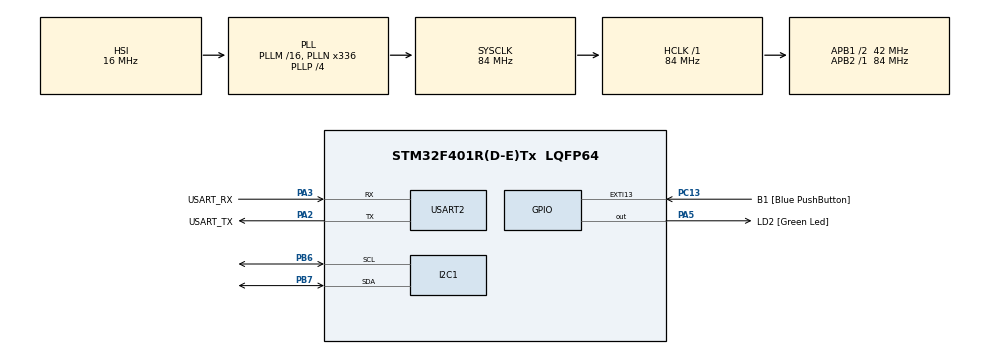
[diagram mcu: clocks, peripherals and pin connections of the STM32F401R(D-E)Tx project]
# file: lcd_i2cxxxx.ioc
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Mcu.Family=STM32F4
PA2.GPIO_PuPd=GPIO_NOPULL
RCC.CortexFreq_Value=84000000
PC13-ANTI_TAMP.GPIO_PuPd=GPIO_NOPULL
PC13-ANTI_TAMP.GPIO_Label=B1 [Blue PushButton]
PA14.GPIO_Label=TCK
PA3.GPIO_PuPd=GPIO_NOPULL
PH1\ -\ OSC_OUT.Mode=HSE-External-Oscillator
PA2.GPIO_Speed=GPIO_SPEED_FREQ_LOW
RCC.APB1CLKDivider=RCC_HCLK_DIV2
PC14-OSC32_IN.Signal=RCC_OSC32_IN
PA3.GPIO_Speed=GPIO_SPEED_FREQ_LOW
RCC.SYSCLKSource=RCC_SYSCLKSOURCE_PLLCLK
ProjectManager.StackSize=0x400
PA13.Signal=SYS_JTMS-SWDIO
PA3.Mode=Asynchronous
PH0\ -\ OSC_IN.Mode=HSE-External-Oscillator
PH0\ -\ OSC_IN.Signal=RCC_OSC_IN
ProjectManager.TargetToolchain=SW4STM32
PA3.GPIO_Mode=GPIO_MODE_AF_PP
RCC.HCLKFreq_Value=84000000
RCC.APB2TimFreq_Value=84000000
PB6.Signal=I2C1_SCL
PB6.Mode=I2C
PC15-OSC32_OUT.Signal=RCC_OSC32_OUT
RCC.AHBFreq_Value=84000000
PA5.Signal=GPIO_Output
RCC.HSE_VALUE=8000000
PH1\ -\ OSC_OUT.Signal=RCC_OSC_OUT
board=NUCLEO-F401RE
PC13-ANTI_TAMP.Signal=GPXTI13
RCC.VCOOutputFreq_Value=336000000
RCC.APB2Freq_Value=84000000
PA14.Mode=Serial_Wire
PA5.GPIO_PuPd=GPIO_NOPULL
PB7.Signal=I2C1_SDA
PA13.Mode=Serial_Wire
Mcu.Name=STM32F401R(D-E)Tx
PA2.Signal=USART2_TX
PA13.GPIO_Label=TMS
RCC.48MHZClocksFreq_Value=48000000
PB3.Signal=SYS_JTDO-SWO
RCC.SYSCLKFreq_VALUE=84000000
Mcu.Package=LQFP64
PA5.GPIO_Label=LD2 [Green Led]
USART2.VirtualMode=VM_ASYNC
PC13-ANTI_TAMP.GPIO_ModeDefaultEXTI=GPIO_MODE_IT_FALLING
PA2.GPIO_Label=USART_TX
PB7.Mode=I2C
PA14.Signal=SYS_JTCK-SWCLK
ProjectManager.HeapSize=0x200
RCC.HSI_VALUE=16000000
RCC.PLLP=RCC_PLLP_DIV4
PA5.GPIO_Speed=GPIO_SPEED_FREQ_LOW
RCC.PLLQ=7
NVIC.PriorityGroup=NVIC_PRIORITYGROUP_0
RCC.PLLN=336
RCC.APB1TimFreq_Value=84000000
PA2.Mode=Asynchronous
RCC.APB1Freq_Value=42000000
PA5.GPIO_Mode=GPIO_MODE_OUTPUT_PP
PA3.GPIO_Label=USART_RX
PA3.Signal=USART2_RX
PA2.GPIO_Mode=GPIO_MODE_AF_PP
PB3.GPIO_Label=SWO

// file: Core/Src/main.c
/* USER CODE BEGIN Header */
/**
  ******************************************************************************
  * @file           : main.c
  * @brief          : Main program body
  ******************************************************************************
  * @attention
  *
  * <h2><center>&copy; Copyright (c) 2020 STMicroelectronics.
  * All rights reserved.</center></h2>
  *
  * This software component is licensed by ST under BSD 3-Clause license,
  * the "License"; You may not use this file except in compliance with the
  * License. You may obtain a copy of the License at:
  *                        opensource.org/licenses/BSD-3-Clause
  *
  ******************************************************************************
  */
/* USER CODE END Header */
#include "main.h"

I2C_HandleTypeDef hi2c1;

UART_HandleTypeDef huart2;

void SystemClock_Config(void);
static void MX_GPIO_Init(void);
static void MX_I2C1_Init(void);
static void MX_USART2_UART_Init(void);

/* USER CODE BEGIN 0 */

#define SLAVE_ADDRESS_LCD 0x4E

void lcd_send_cmd (char cmd)
{
  char data_u, data_l;
	uint8_t data_t[4];
	data_u = (cmd&0xf0);
	data_l = ((cmd<<4)&0xf0);
	data_t[0] = data_u|0x0C;  //en=1, rs=0
	data_t[1] = data_u|0x08;  //en=0, rs=0
	data_t[2] = data_l|0x0C;  //en=1, rs=0
	data_t[3] = data_l|0x08;  //en=0, rs=0
	HAL_I2C_Master_Transmit (&hi2c1, SLAVE_ADDRESS_LCD,(uint8_t *) data_t, 4, 100);
}

void lcd_send_data (char data)
{
	char data_u, data_l;
	uint8_t data_t[4];
	data_u = (data&0xf0);
	data_l = ((data<<4)&0xf0);
	data_t[0] = data_u|0x0D;  //en=1, rs=1
	data_t[1] = data_u|0x09;  //en=0, rs=1
	data_t[2] = data_l|0x0D;  //en=1, rs=1
	data_t[3] = data_l|0x09;  //en=0, rs=1
	HAL_I2C_Master_Transmit (&hi2c1, SLAVE_ADDRESS_LCD,(uint8_t *) data_t, 4, 100);

}

void lcd_send_string (char *str)
{
	while (*str) lcd_send_data (*str++);
}

void lcd_init (void)
{
	// 4 bit initialisation
	HAL_Delay(50);  // wait for >40ms
	lcd_send_cmd (0x30);
	HAL_Delay(5);  // wait for >4.1ms
	lcd_send_cmd (0x30);
	HAL_Delay(1);  // wait for >100us
	lcd_send_cmd (0x30);
	HAL_Delay(10);
	lcd_send_cmd (0x20);  // 4bit mode
	HAL_Delay(10);

  // dislay initialisation
	lcd_send_cmd (0x28); // Function set --> DL=0 (4 bit mode), N = 1 (2 line display) F = 0 (5x8 characters)
	HAL_Delay(1);
	lcd_send_cmd (0x08); //Display on/off control --> D=0,C=0, B=0  ---> display off
	HAL_Delay(1);
	lcd_send_cmd (0x01);  // clear display
	HAL_Delay(1);
	HAL_Delay(1);
	lcd_send_cmd (0x06); //Entry mode set --> I/D = 1 (increment cursor) & S = 0 (no shift)
	HAL_Delay(1);
	lcd_send_cmd (0x0C); //Display on/off control --> D = 1, C and B = 0. (Cursor and blink, last two bits)
}

/* USER CODE END 0 */

int main(void)
{

  /* MCU Configuration--------------------------------------------------------*/

  /* Reset of all peripherals, Initializes the Flash interface and the Systick. */
  HAL_Init();

  /* Configure the system clock */
  SystemClock_Config();

  /* Initialize all configured peripherals */
  MX_GPIO_Init();
  MX_I2C1_Init();
  MX_USART2_UART_Init();
  /* USER CODE BEGIN 2 */

  lcd_init();
  lcd_send_string("Hello World");

  /* USER CODE END 2 */

  /* Infinite loop */
  while (1)
  {

  }
}

void SystemClock_Config(void)
{
  RCC_OscInitTypeDef RCC_OscInitStruct = {0};
  RCC_ClkInitTypeDef RCC_ClkInitStruct = {0};

  /** Configure the main internal regulator output voltage
  */
  __HAL_RCC_PWR_CLK_ENABLE();
  __HAL_PWR_VOLTAGESCALING_CONFIG(PWR_REGULATOR_VOLTAGE_SCALE2);
  /** Initializes the RCC Oscillators according to the specified parameters
  * in the RCC_OscInitTypeDef structure.
  */
  RCC_OscInitStruct.OscillatorType = RCC_OSCILLATORTYPE_HSI;
  RCC_OscInitStruct.HSIState = RCC_HSI_ON;
  RCC_OscInitStruct.HSICalibrationValue = RCC_HSICALIBRATION_DEFAULT;
  RCC_OscInitStruct.PLL.PLLState = RCC_PLL_ON;
  RCC_OscInitStruct.PLL.PLLSource = RCC_PLLSOURCE_HSI;
  RCC_OscInitStruct.PLL.PLLM = 16;
  RCC_OscInitStruct.PLL.PLLN = 336;
  RCC_OscInitStruct.PLL.PLLP = RCC_PLLP_DIV4;
  RCC_OscInitStruct.PLL.PLLQ = 7;
  if (HAL_RCC_OscConfig(&RCC_OscInitStruct) != HAL_OK)
  {
    Error_Handler();
  }
  /** Initializes the CPU, AHB and APB buses clocks
  */
  RCC_ClkInitStruct.ClockType = RCC_CLOCKTYPE_HCLK|RCC_CLOCKTYPE_SYSCLK
                              |RCC_CLOCKTYPE_PCLK1|RCC_CLOCKTYPE_PCLK2;
  RCC_ClkInitStruct.SYSCLKSource = RCC_SYSCLKSOURCE_PLLCLK;
  RCC_ClkInitStruct.AHBCLKDivider = RCC_SYSCLK_DIV1;
  RCC_ClkInitStruct.APB1CLKDivider = RCC_HCLK_DIV2;
  RCC_ClkInitStruct.APB2CLKDivider = RCC_HCLK_DIV1;

  if (HAL_RCC_ClockConfig(&RCC_ClkInitStruct, FLASH_LATENCY_2) != HAL_OK)
  {
    Error_Handler();
  }
}

static void MX_I2C1_Init(void)
{

  hi2c1.Instance = I2C1;
  hi2c1.Init.ClockSpeed = 100000;
  hi2c1.Init.DutyCycle = I2C_DUTYCYCLE_2;
  hi2c1.Init.OwnAddress1 = 0;
  hi2c1.Init.AddressingMode = I2C_ADDRESSINGMODE_7BIT;
  hi2c1.Init.DualAddressMode = I2C_DUALADDRESS_DISABLE;
  hi2c1.Init.OwnAddress2 = 0;
  hi2c1.Init.GeneralCallMode = I2C_GENERALCALL_DISABLE;
  hi2c1.Init.NoStretchMode = I2C_NOSTRETCH_DISABLE;
  if (HAL_I2C_Init(&hi2c1) != HAL_OK)
  {
    Error_Handler();
  }

}

static void MX_USART2_UART_Init(void)
{

  huart2.Instance = USART2;
  huart2.Init.BaudRate = 115200;
  huart2.Init.WordLength = UART_WORDLENGTH_8B;
  huart2.Init.StopBits = UART_STOPBITS_1;
  huart2.Init.Parity = UART_PARITY_NONE;
  huart2.Init.Mode = UART_MODE_TX_RX;
  huart2.Init.HwFlowCtl = UART_HWCONTROL_NONE;
  huart2.Init.OverSampling = UART_OVERSAMPLING_16;
  if (HAL_UART_Init(&huart2) != HAL_OK)
  {
    Error_Handler();
  }

}

static void MX_GPIO_Init(void)
{
  GPIO_InitTypeDef GPIO_InitStruct = {0};

  /* GPIO Ports Clock Enable */
  __HAL_RCC_GPIOC_CLK_ENABLE();
  __HAL_RCC_GPIOH_CLK_ENABLE();
  __HAL_RCC_GPIOA_CLK_ENABLE();
  __HAL_RCC_GPIOB_CLK_ENABLE();

  /*Configure GPIO pin Output Level */
  HAL_GPIO_WritePin(LD2_GPIO_Port, LD2_Pin, GPIO_PIN_RESET);

  /*Configure GPIO pin : B1_Pin */
  GPIO_InitStruct.Pin = B1_Pin;
  GPIO_InitStruct.Mode = GPIO_MODE_IT_FALLING;
  GPIO_InitStruct.Pull = GPIO_NOPULL;
  HAL_GPIO_Init(B1_GPIO_Port, &GPIO_InitStruct);

  /*Configure GPIO pin : LD2_Pin */
  GPIO_InitStruct.Pin = LD2_Pin;
  GPIO_InitStruct.Mode = GPIO_MODE_OUTPUT_PP;
  GPIO_InitStruct.Pull = GPIO_NOPULL;
  GPIO_InitStruct.Speed = GPIO_SPEED_FREQ_LOW;
  HAL_GPIO_Init(LD2_GPIO_Port, &GPIO_InitStruct);

}

void Error_Handler(void)
{
}

/************************ (C) COPYRIGHT STMicroelectronics *****END OF FILE****/
